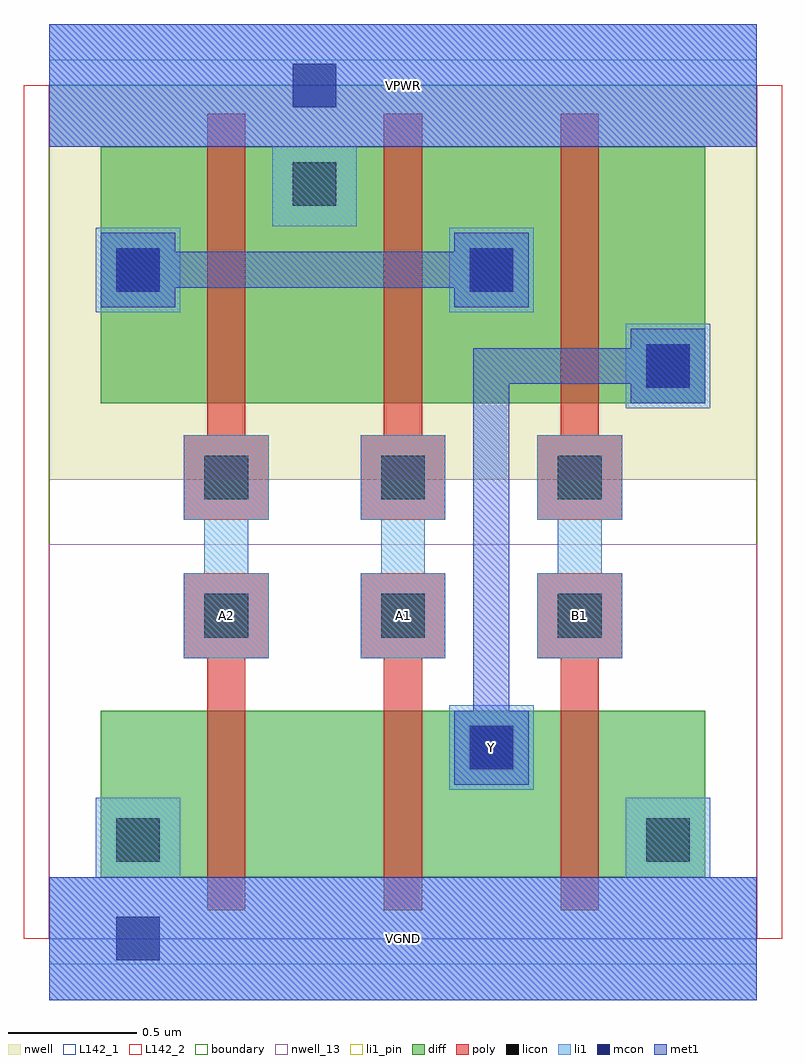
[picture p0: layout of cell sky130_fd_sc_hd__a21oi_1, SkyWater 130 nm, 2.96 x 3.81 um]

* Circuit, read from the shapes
.subckt sky130_fd_sc_hd__a21oi_1 A1 A2 B1 VGND VPWR Y
XM1 n1 A2 VGND VSUBS sky130_fd_pr__nfet_01v8 w=0.65 l=0.15
XM2 Y A1 n1 VSUBS sky130_fd_pr__nfet_01v8 w=0.65 l=0.15
XM3 VGND B1 Y VSUBS sky130_fd_pr__nfet_01v8 w=0.65 l=0.15
XM4 VPWR A2 n2 n3 sky130_fd_pr__pfet_01v8 w=1 l=0.15
XM5 n2 A1 VPWR n3 sky130_fd_pr__pfet_01v8 w=1 l=0.15
XM6 Y B1 n2 n3 sky130_fd_pr__pfet_01v8 w=1 l=0.15
.ends

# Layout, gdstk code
import gdstk
lib = gdstk.Library(unit=1e-6, precision=1e-09)
def R(c, l, rs):  # rectangles x0, y0, x1, y1
    for r in rs: c.add(gdstk.rectangle(r[:2], r[2:], *l))
def A(c, l, x, y, w, h, nx, ny, dx, dy):  # array of equal rectangles
    R(c, l, [(x+i*dx, y+j*dy, x+i*dx+w, y+j*dy+h) for i in range(nx) for j in range(ny)])
def P(c, l, *ps):  # polygons
    for p in ps: c.add(gdstk.Polygon(p, *l))
nwell_13 = (64, 13)
nwell = (64, 20)
diff = (65, 20)
poly = (66, 20)
licon = (66, 44)
li1_pin = (67, 16)
li1 = (67, 20)
mcon = (67, 44)
met1 = (68, 20)
L142_1 = (142, 1)
L142_2 = (142, 2)
boundary = (235, 4)

sky130_fd_sc_hd__a21oi_1 = lib.new_cell('sky130_fd_sc_hd__a21oi_1')
R(sky130_fd_sc_hd__a21oi_1, nwell_13, [(0,0,2.76,1.54)])
R(sky130_fd_sc_hd__a21oi_1, nwell, [(0,1.79,2.76,3.33)])
R(sky130_fd_sc_hd__a21oi_1, diff, [(0.2,0.24,2.56,0.89), (0.2,0.24,0.615,0.89), (0.615,0.24,1.305,0.89), (1.305,0.24,1.995,0.89), (1.995,0.24,2.56,0.89), (0.2,2.09,2.56,3.09), (0.2,2.09,0.615,3.09), (0.615,2.09,1.305,3.09), (1.305,2.09,1.995,3.09), (1.995,2.09,2.56,3.09)])
P(sky130_fd_sc_hd__a21oi_1, poly, [(0.615,0.11),(0.615,1.095),(0.525,1.095),(0.525,1.425),(0.855,1.425),(0.855,1.095),(0.765,1.095),(0.765,0.11)],
  [(0.525,1.635),(0.525,1.965),(0.615,1.965),(0.615,3.22),(0.765,3.22),(0.765,1.965),(0.855,1.965),(0.855,1.635)],
  [(1.305,0.11),(1.305,1.095),(1.215,1.095),(1.215,1.425),(1.545,1.425),(1.545,1.095),(1.455,1.095),(1.455,0.11)],
  [(1.215,1.635),(1.215,1.965),(1.305,1.965),(1.305,3.22),(1.455,3.22),(1.455,1.965),(1.545,1.965),(1.545,1.635)],
  [(1.995,0.11),(1.995,1.095),(1.905,1.095),(1.905,1.425),(2.235,1.425),(2.235,1.095),(2.145,1.095),(2.145,0.11)],
  [(1.905,1.635),(1.905,1.965),(1.995,1.965),(1.995,3.22),(2.145,3.22),(2.145,1.965),(2.235,1.965),(2.235,1.635)])
A(sky130_fd_sc_hd__a21oi_1, licon, 0.605, 1.175, 0.17, 0.17, 3, 2, 0.69, 0.54)
R(sky130_fd_sc_hd__a21oi_1, licon, [(0.26,0.3,0.43,0.47), (2.33,0.3,2.5,0.47), (1.64,0.66,1.81,0.83), (2.33,2.15,2.5,2.32), (0.26,2.525,0.43,2.695), (1.64,2.525,1.81,2.695), (0.95,2.86,1.12,3.03)])
R(sky130_fd_sc_hd__a21oi_1, li1_pin, [(0,-0.24,2.76,0.24), (1.56,0.58,1.89,0.91), (0,3.09,2.76,3.57)])
P(sky130_fd_sc_hd__a21oi_1, li1_pin, [(0.525,1.095),(0.525,1.425),(0.605,1.425),(0.605,1.635),(0.525,1.635),(0.525,1.965),(0.855,1.965),(0.855,1.635),(0.775,1.635),(0.775,1.425),(0.855,1.425),(0.855,1.095)],
  [(1.215,1.095),(1.215,1.425),(1.295,1.425),(1.295,1.635),(1.215,1.635),(1.215,1.965),(1.545,1.965),(1.545,1.635),(1.465,1.635),(1.465,1.425),(1.545,1.425),(1.545,1.095)],
  [(1.905,1.095),(1.905,1.425),(1.985,1.425),(1.985,1.635),(1.905,1.635),(1.905,1.965),(2.235,1.965),(2.235,1.635),(2.155,1.635),(2.155,1.425),(2.235,1.425),(2.235,1.095)])
R(sky130_fd_sc_hd__a21oi_1, li1, [(1.56,0.58,1.89,0.91), (2.25,2.07,2.58,2.4), (0.18,2.445,0.51,2.775), (1.56,2.445,1.89,2.775)])
P(sky130_fd_sc_hd__a21oi_1, li1, [(0.525,1.095),(0.525,1.425),(0.605,1.425),(0.605,1.635),(0.525,1.635),(0.525,1.965),(0.855,1.965),(0.855,1.635),(0.775,1.635),(0.775,1.425),(0.855,1.425),(0.855,1.095)],
  [(0.87,2.78),(0.87,3.09),(0,3.09),(0,3.57),(2.76,3.57),(2.76,3.09),(1.2,3.09),(1.2,2.78)],
  [(1.215,1.095),(1.215,1.425),(1.295,1.425),(1.295,1.635),(1.215,1.635),(1.215,1.965),(1.545,1.965),(1.545,1.635),(1.465,1.635),(1.465,1.425),(1.545,1.425),(1.545,1.095)],
  [(0,-0.24),(0,0.24),(0.18,0.24),(0.18,0.55),(0.51,0.55),(0.51,0.24),(2.25,0.24),(2.25,0.55),(2.58,0.55),(2.58,0.24),(2.76,0.24),(2.76,-0.24)],
  [(1.905,1.095),(1.905,1.425),(1.985,1.425),(1.985,1.635),(1.905,1.635),(1.905,1.965),(2.235,1.965),(2.235,1.635),(2.155,1.635),(2.155,1.425),(2.235,1.425),(2.235,1.095)])
R(sky130_fd_sc_hd__a21oi_1, mcon, [(0.26,-0.085,0.43,0.085), (1.64,0.66,1.81,0.83), (2.33,2.15,2.5,2.32), (0.26,2.525,0.43,2.695), (1.64,2.525,1.81,2.695), (0.95,3.245,1.12,3.415)])
R(sky130_fd_sc_hd__a21oi_1, met1, [(0,-0.24,2.76,0.24), (0,3.09,2.76,3.57)])
P(sky130_fd_sc_hd__a21oi_1, met1, [(1.58,0.6),(1.58,0.89),(1.655,0.89),(1.655,2.305),(2.27,2.305),(2.27,2.38),(2.56,2.38),(2.56,2.09),(2.27,2.09),(2.27,2.165),(1.795,2.165),(1.795,0.89),(1.87,0.89),(1.87,0.6)],
  [(0.2,2.465),(0.2,2.755),(0.49,2.755),(0.49,2.68),(1.58,2.68),(1.58,2.755),(1.87,2.755),(1.87,2.465),(1.58,2.465),(1.58,2.54),(0.49,2.54),(0.49,2.465)])
R(sky130_fd_sc_hd__a21oi_1, L142_1, [(0,-0.1,2.76,0), (0,3.33,2.76,3.43)])
R(sky130_fd_sc_hd__a21oi_1, L142_2, [(-0.1,0,0,3.33), (2.76,0,2.86,3.33)])
R(sky130_fd_sc_hd__a21oi_1, boundary, [(0,0,2.76,3.33)])
sky130_fd_sc_hd__a21oi_1.add(gdstk.Label('Y', (1.725,0.745), layer=67, texttype=5))
sky130_fd_sc_hd__a21oi_1.add(gdstk.Label('A2', (0.69,1.26), layer=67, texttype=5))
sky130_fd_sc_hd__a21oi_1.add(gdstk.Label('A1', (1.38,1.26), layer=67, texttype=5))
sky130_fd_sc_hd__a21oi_1.add(gdstk.Label('B1', (2.07,1.26), layer=67, texttype=5))
sky130_fd_sc_hd__a21oi_1.add(gdstk.Label('VGND', (1.38,0), layer=67, texttype=5))
sky130_fd_sc_hd__a21oi_1.add(gdstk.Label('VPWR', (1.38,3.33), layer=67, texttype=5))
sky130_fd_sc_hd__a21oi_1.add(gdstk.Label('VGND', (1.38,0), layer=68, texttype=5))
sky130_fd_sc_hd__a21oi_1.add(gdstk.Label('VPWR', (1.38,3.33), layer=68, texttype=5))

lib.write_gds('sky130_fd_sc_hd__a21oi_1.gds')
